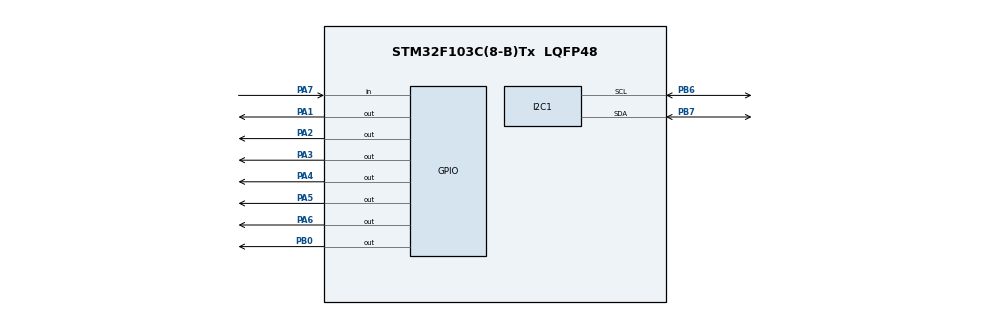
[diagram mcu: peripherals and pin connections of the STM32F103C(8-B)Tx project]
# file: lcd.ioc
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Mcu.Family=STM32F1
Mcu.Name=STM32F103C(8-B)Tx
Mcu.Package=LQFP48
NVIC.PriorityGroup=NVIC_PRIORITYGROUP_4
PA1.GPIO_Speed=GPIO_SPEED_FREQ_HIGH
PA1.Signal=GPIO_Output
PA2.GPIO_Speed=GPIO_SPEED_FREQ_HIGH
PA2.Signal=GPIO_Output
PA3.GPIO_Speed=GPIO_SPEED_FREQ_HIGH
PA3.Signal=GPIO_Output
PA4.GPIO_Speed=GPIO_SPEED_FREQ_HIGH
PA4.Signal=GPIO_Output
PA5.GPIO_Speed=GPIO_SPEED_FREQ_HIGH
PA5.Signal=GPIO_Output
PA6.GPIO_Speed=GPIO_SPEED_FREQ_HIGH
PA6.Signal=GPIO_Output
PA7.GPIO_PuPd=GPIO_PULLUP
PA7.Signal=GPIO_Input
PB0.GPIO_ModeDefaultOutputPP=GPIO_MODE_OUTPUT_OD
PB0.GPIO_PuPd=GPIO_NOPULL
PB0.GPIO_Speed=GPIO_SPEED_FREQ_HIGH
PB0.PinState=GPIO_PIN_RESET
PB0.Signal=GPIO_Output
PB6.Mode=I2C
PB6.Signal=I2C1_SCL
PB7.Mode=I2C
PB7.Signal=I2C1_SDA
ProjectManager.HeapSize=0x200
ProjectManager.StackSize=0x400
ProjectManager.TargetToolchain=MDK-ARM V5.32
RCC.APB1Freq_Value=8000000
RCC.APB2Freq_Value=8000000
TIM1.Prescaler=7
VP_SYS_VS_ND.Mode=No_Debug
VP_TIM1_VS_ClockSourceINT.Mode=Internal
board=custom

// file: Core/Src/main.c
/* USER CODE BEGIN Header */
/**
  ******************************************************************************
  * @file           : main.c
  * @brief          : Main program body
  ******************************************************************************
  * @attention
  *
  * Copyright (c) 2026 STMicroelectronics.
  * All rights reserved.
  *
  * This software is licensed under terms that can be found in the LICENSE file
  * in the root directory of this software component.
  * If no LICENSE file comes with this software, it is provided AS-IS.
  *
  ******************************************************************************
  */
/* USER CODE END Header */
#include "main.h"
#include "i2c.h"
#include "tim.h"
#include "gpio.h"
#include "String.h"
#include "stdio.h"
#include "CLCD_I2C.h"

void SystemClock_Config(void);

/* USER CODE BEGIN 0 */

/* USER CODE BEGIN 0 */
/* USER CODE BEGIN 0 */
extern TIM_HandleTypeDef htim1;
extern I2C_HandleTypeDef hi2c1;

#define DHT_PORT GPIOB
#define DHT_PIN  GPIO_PIN_0
#define DHT_READ HAL_GPIO_ReadPin(DHT_PORT, DHT_PIN)

uint8_t Temp1, Temp2, RH1, RH2, SUM;
uint16_t Temp_16, RH_16;

void delay_us(uint16_t us) {
    __HAL_TIM_SET_COUNTER(&htim1, 0);
    while (__HAL_TIM_GET_COUNTER(&htim1) < us);
}

void DHT_SetPinOut(void) {
    GPIO_InitTypeDef GPIO_InitStruct = {0};
    GPIO_InitStruct.Pin = DHT_PIN;
    GPIO_InitStruct.Mode = GPIO_MODE_OUTPUT_PP;
    GPIO_InitStruct.Speed = GPIO_SPEED_FREQ_HIGH;
    HAL_GPIO_Init(DHT_PORT, &GPIO_InitStruct);
}

void DHT_SetPinIn(void) {
    GPIO_InitTypeDef GPIO_InitStruct = {0};
    GPIO_InitStruct.Pin = DHT_PIN;
    GPIO_InitStruct.Mode = GPIO_MODE_INPUT;
    GPIO_InitStruct.Pull = GPIO_PULLUP;
    HAL_GPIO_Init(DHT_PORT, &GPIO_InitStruct);
}

uint8_t DHT_Start(void) {
    DHT_SetPinOut();
    HAL_GPIO_WritePin(DHT_PORT, DHT_PIN, GPIO_PIN_RESET);
    HAL_Delay(20);

    DHT_SetPinIn();
    delay_us(40);

    if (!DHT_READ) {
        delay_us(80);
        if (DHT_READ) {
            while (DHT_READ);
            return 1;
        }
    }
    return 0;
}

uint8_t DHT_Read(void) {
    uint8_t Value = 0;
    for(int i = 0; i < 8; i++) {
        while(!DHT_READ);

        delay_us(40);

        if(!DHT_READ) {
            Value &= ~(1 << (7 - i)); // Xuống 0 sớm -> Bit 0
        } else {
            Value |= (1 << (7 - i));  // Vẫn là 1 -> Bit 1
            while(DHT_READ);
        }
    }
    return Value;
}

uint8_t DHT_ReadTempHum(void) {
    if (DHT_Start()) {
        RH1 = DHT_Read();
        RH2 = DHT_Read();
        Temp1 = DHT_Read();
        Temp2 = DHT_Read();
        SUM = DHT_Read();

        if ((uint8_t)(RH1 + RH2 + Temp1 + Temp2) == SUM && SUM != 0) {

            RH_16 = (RH1 << 8) | RH2;
            Temp_16 = (Temp1 << 8) | Temp2;
            return 1;
        }
    }
    return 0;
}

CLCD_I2C_Name LCD1;
/* USER CODE END 0 */

int main(void)
{

  /* MCU Configuration--------------------------------------------------------*/

  /* Reset of all peripherals, Initializes the Flash interface and the Systick. */
  HAL_Init();

  /* Configure the system clock */
  SystemClock_Config();

  /* Initialize all configured peripherals */
  MX_GPIO_Init();
  MX_TIM1_Init();
  MX_I2C1_Init();
  /* USER CODE BEGIN 2 */
HAL_TIM_Base_Start(&htim1);

  // Khởi tạo LCD I2C (Địa chỉ thường là 0x4E hoặc 0x27, ở đây dùng 16 cột 2 hàng)
  CLCD_I2C_Init(&LCD1, &hi2c1, 0x4E, 16, 2);

  CLCD_I2C_SetCursor(&LCD1, 0, 0);
  CLCD_I2C_WriteString(&LCD1, "KHOI DONG...");
  HAL_Delay(2000); // Chờ hệ thống và cảm biến ổn định
  CLCD_I2C_Clear(&LCD1);
  /* USER CODE END 2 */

  /* Infinite loop */
  /* USER CODE BEGIN WHILE */
while (1)
  {
      if (DHT_ReadTempHum() == 1) {
          char str_temp[16];
          char str_humi[16];

          sprintf(str_temp, "Nhiet: %d.%d C  ", Temp_16 / 10, Temp_16 % 10);
          sprintf(str_humi, "Do am: %d.%d %%  ", RH_16 / 10, RH_16 % 10);

          CLCD_I2C_SetCursor(&LCD1, 0, 0);
          CLCD_I2C_WriteString(&LCD1, str_temp);
          CLCD_I2C_SetCursor(&LCD1, 0, 1);
          CLCD_I2C_WriteString(&LCD1, str_humi);
      } else {
          CLCD_I2C_SetCursor(&LCD1, 0, 0);
          CLCD_I2C_WriteString(&LCD1, "Loi doc DHT!    ");
          CLCD_I2C_SetCursor(&LCD1, 0, 1);
          CLCD_I2C_WriteString(&LCD1, "Kiem tra day... ");
      }

      HAL_Delay(2000);
  }
  /* USER CODE END 3 */
}

void SystemClock_Config(void)
{
  RCC_OscInitTypeDef RCC_OscInitStruct = {0};
  RCC_ClkInitTypeDef RCC_ClkInitStruct = {0};

  /** Initializes the RCC Oscillators according to the specified parameters
  * in the RCC_OscInitTypeDef structure.
  */
  RCC_OscInitStruct.OscillatorType = RCC_OSCILLATORTYPE_HSI;
  RCC_OscInitStruct.HSIState = RCC_HSI_ON;
  RCC_OscInitStruct.HSICalibrationValue = RCC_HSICALIBRATION_DEFAULT;
  RCC_OscInitStruct.PLL.PLLState = RCC_PLL_NONE;
  if (HAL_RCC_OscConfig(&RCC_OscInitStruct) != HAL_OK)
  {
    Error_Handler();
  }

  /** Initializes the CPU, AHB and APB buses clocks
  */
  RCC_ClkInitStruct.ClockType = RCC_CLOCKTYPE_HCLK|RCC_CLOCKTYPE_SYSCLK
                              |RCC_CLOCKTYPE_PCLK1|RCC_CLOCKTYPE_PCLK2;
  RCC_ClkInitStruct.SYSCLKSource = RCC_SYSCLKSOURCE_HSI;
  RCC_ClkInitStruct.AHBCLKDivider = RCC_SYSCLK_DIV1;
  RCC_ClkInitStruct.APB1CLKDivider = RCC_HCLK_DIV1;
  RCC_ClkInitStruct.APB2CLKDivider = RCC_HCLK_DIV1;

  if (HAL_RCC_ClockConfig(&RCC_ClkInitStruct, FLASH_LATENCY_0) != HAL_OK)
  {
    Error_Handler();
  }
}

void Error_Handler(void)
{
  __disable_irq();
  while (1)
  {
  }
}
